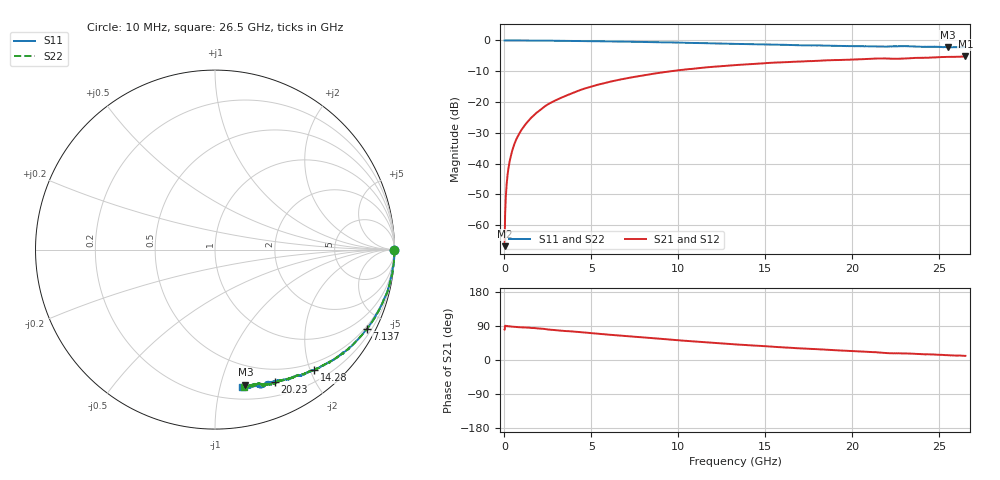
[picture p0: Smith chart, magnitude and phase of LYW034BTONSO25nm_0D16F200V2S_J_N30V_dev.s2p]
!Keysight Technologies,N5222B,MY61253708,A.15.00.15
!Date: Wednesday, June 19, 2024 08:54:47
!Correction: S11(C  2-Port  )
!S21(C  2-Port  )
!S12(C  2-Port  )
!S22(C  2-Port  )
!S2P File: Measurements: S11, S21, S12, S22:
# Hz S  RI  R 50
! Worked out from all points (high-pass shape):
!   2651 points, 10 MHz to 26.5 GHz, reference 50 ohm
!   highest |S21| = -5.18 dB at 26.5 GHz (marker M1); lowest = -66.8 dB at 10 MHz (marker M2)
!   |S21| within 3 dB of the highest: 12.87 GHz to end of sweep
!   lowest |S11| = -2.3 dB at 25.5 GHz (marker M3), VSWR 7.74, Z = 16.1 - j59.9 ohm
!   |S11| at or under -10 dB: nowhere
!   |S22| runs from -2.2 to 0.0 dB; largest |S21 - S12| = 0.0075
!   S11 on the Smith chart (normalised r, x): 10 MHz: open; 7.137 GHz: 0.41, -4.03; 14.28 GHz: 0.38, -2.06; 20.23 GHz: 0.35, -1.49; 26.5 GHz: 0.30, -1.17
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1e7  0.9986 -0.00215  7.66e-05 0.000448  -0.000199 -7.67e-05  0.9985 -0.0011
7.997358e7  0.9998 -0.00593  -1.09e-05 0.00291  1.14e-05 0.00289  0.9993 -0.0055
1.499472e8  0.9998 -0.0115  6.72e-05 0.00544  6.2e-05 0.00545  0.9994 -0.0109
1.899321e8  1 -0.0135  0.000113 0.00691  0.000102 0.00691  0.9997 -0.0128
2.399132e8  0.9993 -0.0177  0.000178 0.0087  0.00017 0.00877  0.9991 -0.0168
3.298792e8  0.9993 -0.0237  0.000307 0.012  0.000295 0.012  0.9992 -0.0227
4.598302e8  0.9988 -0.0333  0.000551 0.0166  0.000532 0.0167  0.9987 -0.0323
6.097736e8  0.9986 -0.0435  0.001 0.0221  0.00098 0.0223  0.9986 -0.0431
7.997019e8  0.9976 -0.057  0.00169 0.0288  0.00168 0.0289  0.9971 -0.056
1.43946e9  0.9892 -0.1027  0.00424 0.0518  0.0043 0.052  0.9918 -0.0994
2.319128e9  0.9789 -0.1598  0.0119 0.0841  0.0121 0.0845  0.9803 -0.1603
3.138819e9  0.9659 -0.2147  0.0241 0.1104  0.0243 0.111  0.9669 -0.2134
4.428332e9  0.934 -0.2947  0.0453 0.1524  0.0456 0.1533  0.9358 -0.2919
7.137309e9  0.8457 -0.4422  0.1134 0.2185  0.1145 0.2192  0.8481 -0.4409
8.846664e9  0.7792 -0.5178  0.1639 0.2471  0.1653 0.2478  0.7809 -0.5162
1.3255e10  0.5937 -0.6495  0.2982 0.2626  0.3003 0.2626  0.5972 -0.6484
1.428461e10  0.552 -0.6712  0.3257 0.2576  0.3277 0.2569  0.5559 -0.6671
1.767333e10  0.4178 -0.7176  0.4039 0.2253  0.4072 0.224  0.4289 -0.7157
2.023237e10  0.333 -0.7349  0.4533 0.1931  0.4551 0.1916  0.3463 -0.7352
2.209166e10  0.2853 -0.7413  0.4823 0.1566  0.4838 0.1544  0.2797 -0.7483
2.550038e10  0.1695 -0.7522  0.5273 0.116  0.5287 0.117  0.1901 -0.7575
2.65e10  0.1516 -0.7668  0.5406 0.1049  0.5396 0.102  0.1642 -0.7664
